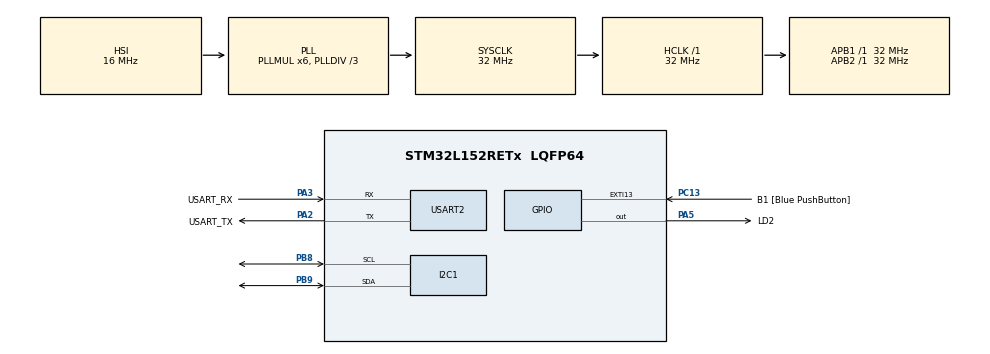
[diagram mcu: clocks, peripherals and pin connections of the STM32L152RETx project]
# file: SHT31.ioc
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I2C1.NoStretchMode=I2C_NOSTRETCH_DISABLE
I2C1.OwnAddress=0
Mcu.Family=STM32L1
Mcu.Name=STM32L152RETx
Mcu.Package=LQFP64
NVIC.PriorityGroup=NVIC_PRIORITYGROUP_0
PA13.GPIO_Label=TMS
PA13.Mode=Serial_Wire
PA13.Signal=SYS_JTMS-SWDIO
PA14.GPIO_Label=TCK
PA14.Mode=Serial_Wire
PA14.Signal=SYS_JTCK-SWCLK
PA2.GPIO_Label=USART_TX
PA2.Mode=Asynchronous
PA2.Signal=USART2_TX
PA3.GPIO_Label=USART_RX
PA3.Mode=Asynchronous
PA3.Signal=USART2_RX
PA5.GPIO_Label=LD2
PA5.GPIO_Speed=GPIO_SPEED_FREQ_HIGH
PA5.PinState=GPIO_PIN_RESET
PA5.Signal=GPIO_Output
PB3.GPIO_Label=SWO
PB3.Signal=SYS_JTDO-TRACESWO
PB8.Mode=I2C
PB8.Signal=I2C1_SCL
PB9.Mode=I2C
PB9.Signal=I2C1_SDA
PC13-WKUP2.GPIO_Label=B1 [Blue PushButton]
PC13-WKUP2.Signal=GPXTI13
PC14-OSC32_IN.Mode=LSE-External-Oscillator
PC14-OSC32_IN.Signal=RCC_OSC32_IN
PC15-OSC32_OUT.Mode=LSE-External-Oscillator
PC15-OSC32_OUT.Signal=RCC_OSC32_OUT
PH0-OSC_IN.Mode=HSE-External-Clock-Source
PH0-OSC_IN.Signal=RCC_OSC_IN
PH1-OSC_OUT.Signal=RCC_OSC_OUT
ProjectManager.HeapSize=0x200
ProjectManager.StackSize=0x400
ProjectManager.TargetToolchain=STM32CubeIDE
RCC.48MHZClocksFreq_Value=48000000
RCC.AHBFreq_Value=32000000
RCC.APB1Freq_Value=32000000
RCC.APB1TimFreq_Value=32000000
RCC.APB2Freq_Value=32000000
RCC.APB2TimFreq_Value=32000000
RCC.HCLKFreq_Value=32000000
RCC.HSE_VALUE=8000000
RCC.HSI_VALUE=16000000
RCC.MSI_VALUE=2097000
RCC.PLLDIV=RCC_PLL_DIV3
RCC.PLLMUL=RCC_PLL_MUL6
RCC.RTCClockSelectionVirtual=RCC_RTCCLKSOURCE_LSE
RCC.SYSCLKFreq_VALUE=32000000
RCC.SYSCLKSource=RCC_SYSCLKSOURCE_PLLCLK
RCC.USBOutput=48000000
RCC.VCOOutputFreq_Value=96000000
USART2.VirtualMode=VM_ASYNC
board=NUCLEO-L152RE

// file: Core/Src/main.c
/* USER CODE BEGIN Header */
/**
  ******************************************************************************
  * @file           : main.c
  * @brief          : Main program body
  ******************************************************************************
  * @attention
  *
  * <h2><center>&copy; Copyright (c) 2021 STMicroelectronics.
  * All rights reserved.</center></h2>
  *
  * This software component is licensed by ST under BSD 3-Clause license,
  * the "License"; You may not use this file except in compliance with the
  * License. You may obtain a copy of the License at:
  *                        opensource.org/licenses/BSD-3-Clause
  *
  ******************************************************************************
  */
/* USER CODE END Header */
#include "main.h"
#include "i2c.h"
#include "usart.h"
#include "gpio.h"

/* USER CODE BEGIN Includes */
#include "serialPrint.h"
#include "stdio.h"
#include "lib_lcd.h"
/* USER CODE END Includes */

/* USER CODE BEGIN PTD */
static rgb_lcd lcdData;
/* USER CODE END PTD */

void SystemClock_Config(void);

/* USER CODE BEGIN 0 */
	static const uint16_t sensorAddress=0x44<<1;
	//static const uint16_t command=0x2400; // single shot

/* USER CODE END 0 */

int main(void)
{
  /* USER CODE BEGIN 1 */
	HAL_StatusTypeDef status;
	uint8_t buf[32];
	uint16_t rawT;
	uint16_t rawH;
	float temp_c=0.0,hum=0.0;
  /* USER CODE END 1 */

  /* MCU Configuration--------------------------------------------------------*/

  /* Reset of all peripherals, Initializes the Flash interface and the Systick. */
  HAL_Init();

  /* Configure the system clock */
  SystemClock_Config();

  /* Initialize all configured peripherals */
  MX_GPIO_Init();
  MX_I2C1_Init();
  MX_USART2_UART_Init();
  /* USER CODE BEGIN 2 */
  lcd_init(&hi2c1, &lcdData); // initialise le lcd
  lcd_position(&hi2c1,0,0);
  lcd_print(&hi2c1,"Temp & Humidity");
  reglagecouleur(0,0,255);
  HAL_Delay(5000);
  /* USER CODE END 2 */

  /* Infinite loop */
  while (1)
  {

    /* USER CODE BEGIN 3 */
	  buf[0]=0x20;
	  buf[1]=0x24;
	  status=HAL_I2C_Master_Transmit(&hi2c1, sensorAddress, buf, 2, HAL_MAX_DELAY);
	  if(status!=HAL_OK){
		  strcpy((char *)buf,"Err Tx \r\n");
	  }else{
		  //HAL_I2C_Master_Transmit(&hi2c1, (sensorAddress|0x01), buf, 0, HAL_MAX_DELAY);
		  HAL_Delay(10);
		  buf[0]=0x0; //MSB temp
		  buf[1]=0x0; //LSB
		  buf[2]=0x0; //CRC
		  buf[3]=0; //MSB hum
		  buf[4]=0; //LSB
		  buf[5]=0; //CRC
		  buf[6]=0;
		  buf[7]=0;
		  buf[8]=0;
		  status=HAL_I2C_Master_Receive(&hi2c1, (sensorAddress|0x00), buf,6, HAL_MAX_DELAY);
		  if(status!=HAL_OK){
			  strcpy((char *)buf,"Err Rx \r\n");
		  }else{
			  rawT=((int16_t)buf[0])<<8|((int16_t)buf[1]);
			  temp_c= -45+ 175*((float)rawT/65535);

			  rawH=((int16_t)buf[3])<<8|((int16_t)buf[4]);
			  hum=100*((float)rawH/65535);
			  hum*=10;
			  temp_c*=10;
			  if(temp_c<0){
				  temp_c=-temp_c;
				  sprintf((char *)buf,"T= -%u,%1u C H=%u,%1u \r\n",
						  (unsigned int)temp_c/10,
						  (unsigned int)temp_c%10,(unsigned int)hum/10,
								  (unsigned int)hum%10);
			  }else{
				  sprintf((char *)buf,"T=%u,%1u C H=%u,%1u \r\n",
						  (unsigned int)temp_c/10,
						  (unsigned int)temp_c%10,(unsigned int)hum/10,
								  (unsigned int)hum%10);
			  }
		  }
	  }
	  serialPrint((char*)buf);

	  lcd_position(&hi2c1,0,0);
	  lcd_print(&hi2c1,(char*)buf);
	  lcd_position(&hi2c1,0,1);
	  lcd_print(&hi2c1,"__BE_STM32_21__");
	  reglagecouleur(3,0,0);

	  HAL_GPIO_TogglePin(LD2_GPIO_Port, LD2_Pin);
	  HAL_Delay(100);

  }
  /* USER CODE END 3 */
}

void SystemClock_Config(void)
{
  RCC_OscInitTypeDef RCC_OscInitStruct = {0};
  RCC_ClkInitTypeDef RCC_ClkInitStruct = {0};

  /** Configure the main internal regulator output voltage
  */
  __HAL_PWR_VOLTAGESCALING_CONFIG(PWR_REGULATOR_VOLTAGE_SCALE1);
  /** Initializes the RCC Oscillators according to the specified parameters
  * in the RCC_OscInitTypeDef structure.
  */
  RCC_OscInitStruct.OscillatorType = RCC_OSCILLATORTYPE_HSI;
  RCC_OscInitStruct.HSIState = RCC_HSI_ON;
  RCC_OscInitStruct.HSICalibrationValue = RCC_HSICALIBRATION_DEFAULT;
  RCC_OscInitStruct.PLL.PLLState = RCC_PLL_ON;
  RCC_OscInitStruct.PLL.PLLSource = RCC_PLLSOURCE_HSI;
  RCC_OscInitStruct.PLL.PLLMUL = RCC_PLL_MUL6;
  RCC_OscInitStruct.PLL.PLLDIV = RCC_PLL_DIV3;
  if (HAL_RCC_OscConfig(&RCC_OscInitStruct) != HAL_OK)
  {
    Error_Handler();
  }
  /** Initializes the CPU, AHB and APB buses clocks
  */
  RCC_ClkInitStruct.ClockType = RCC_CLOCKTYPE_HCLK|RCC_CLOCKTYPE_SYSCLK
                              |RCC_CLOCKTYPE_PCLK1|RCC_CLOCKTYPE_PCLK2;
  RCC_ClkInitStruct.SYSCLKSource = RCC_SYSCLKSOURCE_PLLCLK;
  RCC_ClkInitStruct.AHBCLKDivider = RCC_SYSCLK_DIV1;
  RCC_ClkInitStruct.APB1CLKDivider = RCC_HCLK_DIV1;
  RCC_ClkInitStruct.APB2CLKDivider = RCC_HCLK_DIV1;

  if (HAL_RCC_ClockConfig(&RCC_ClkInitStruct, FLASH_LATENCY_1) != HAL_OK)
  {
    Error_Handler();
  }
}

void Error_Handler(void)
{
  __disable_irq();
  while (1)
  {
  }
}

/************************ (C) COPYRIGHT STMicroelectronics *****END OF FILE****/
